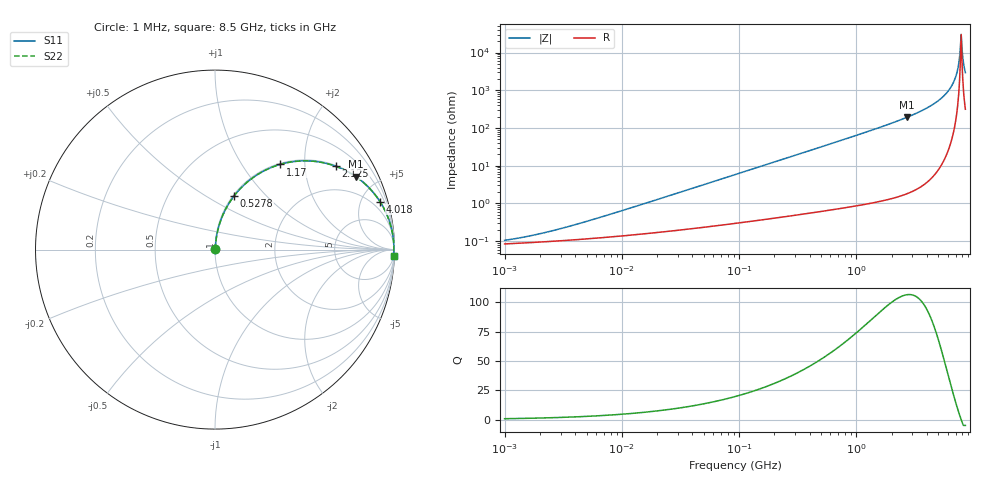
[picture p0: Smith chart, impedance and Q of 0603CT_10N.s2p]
# MHz  S  MA  R  50
!Freq  MagS11  AngS11  MagS21  AngS21  MagS12  AngS12  MagS22  AngS22
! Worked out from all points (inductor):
!   911 points, 1 MHz to 8.5 GHz, reference 50 ohm
!   read as one part in series: L = 10 nH near 5.648 MHz
!   highest Q = 107 at 2.699 GHz (marker M1), where L = 11.4 nH
!   self-resonance near 7.749 GHz
!   S11 on the Smith chart (normalised r, x): 1 MHz: 1.00, +0.00; 527.8 MHz: 1.01, +0.67; 1.17 GHz: 1.02, +1.50; 2.125 GHz: 1.03, +2.88; 4.018 GHz: 1.07, +6.86; 8.5 GHz: 7, -58
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1  0.001052 36.6  0.9992 -0.0  0.9992 -0.0  0.001052 36.6
1.986894  0.001564 52.8  0.9991 -0.1  0.9991 -0.1  0.001564 52.8
4.537836  0.003061 68.4  0.9989 -0.2  0.9989 -0.2  0.003061 68.4
20.59196  0.01303 81.7  0.9982 -0.7  0.9982 -0.7  0.01303 81.7
92.51775  0.05794 83.8  0.9954 -3.3  0.9954 -3.3  0.05794 83.8
419.8304  0.2545 74.0  0.9617 -14.7  0.9617 -14.7  0.2545 74.0
527.7953  0.3143 70.6  0.9434 -18.3  0.9434 -18.3  0.3143 70.6
1169.972  0.5974 52.6  0.7945 -36.7  0.7945 -36.7  0.5974 52.6
1886.259  0.779 38.2  0.6191 -51.2  0.6191 -51.2  0.779 38.2
2125.484  0.818 34.6  0.5673 -54.9  0.5673 -54.9  0.818 34.6
2698.801  0.884 27.3  0.4593 -62.1  0.4593 -62.1  0.884 27.3
4018.146  0.9573 16.2  0.2791 -73.2  0.2791 -73.2  0.9573 16.2
5309.14  0.9846 9.2  0.1592 -79.9  0.1592 -79.9  0.9846 9.2
6414.02  0.9939 4.6  0.08086 -83.4  0.08086 -83.4  0.9939 4.6
6808.611  0.9955 3.2  0.05648 -83.8  0.05648 -83.8  0.9955 3.2
7155.919  0.9963 2.1  0.03628 -83.1  0.03628 -83.1  0.9963 2.1
7372.75  0.9966 1.4  0.02422 -81.2  0.02422 -81.2  0.9966 1.4
7596.152  0.9967 0.7  0.01233 -74.3  0.01233 -74.3  0.9967 0.7
7748.835  0.9967 0.2  0.005037 -49.4  0.005037 -49.4  0.9967 0.2
7983.632  0.9966 -0.5  0.008927 67.4  0.008927 67.4  0.9966 -0.5
8307.8  0.9962 -1.4  0.02466 80.4  0.02466 80.4  0.9962 -1.4
8500  0.9958 -1.9  0.03388 81.9  0.03388 81.9  0.9958 -1.9
